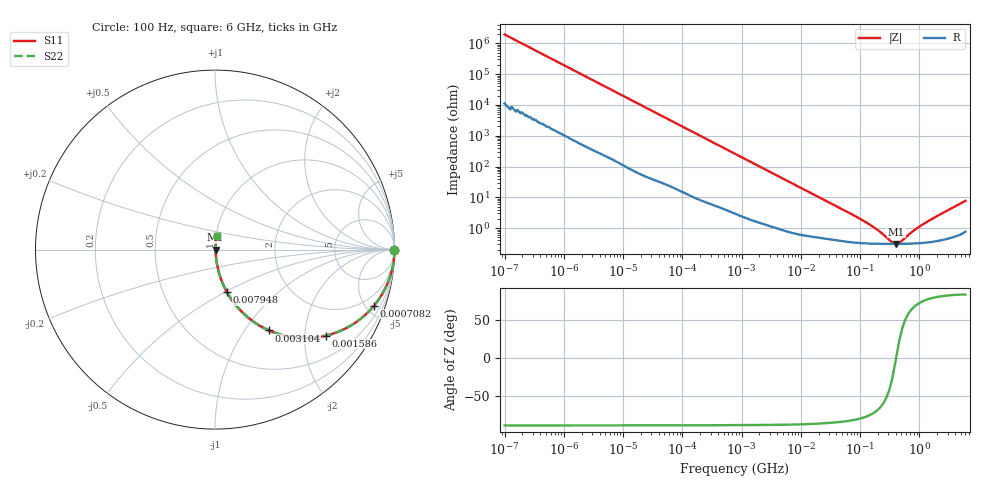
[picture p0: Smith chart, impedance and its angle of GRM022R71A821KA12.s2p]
!Murata Part Number: GRM022R71A821KA12
!These Parameters are Measured in Series Mode Connection
!Data Generated on Mar 30, 2021
!  o--ll--o
!Port1  Port2
!  o------o
!Operation Temp=25[degC], DC Bias Voltage=0[V]
!Freq. Start=100[Hz] Stop=6[GHz] 401[Steps]
# Hz S RI R 50
!Freq.(Hz) S11(Real) S11(Imag) S21(Real) S21(Imag) S12(Real) S12(Imag) S22(Real) S22(Imag)
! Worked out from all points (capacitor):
!   401 points, 100 Hz to 6 GHz, reference 50 ohm
!   read as one part in series: C = 822 pF near 109 Hz
!   lowest |Z| = 308 mohm at 408.7 MHz (marker M1)
!   series resonance near 406.1 MHz, so ESL is about 190 pH
!   S11 on the Smith chart (normalised r, x): 100 Hz: open; 708.2 kHz: 1.06, -5.66; 1.586 MHz: 1.03, -2.54; 3.104 MHz: 1.02, -1.30; 7.948 MHz: 1.01, -0.51; 6 GHz: 1.02, +0.15
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100  1 -5.17e-05  3e-07 5.17e-05  3e-07 5.17e-05  1 -5.17e-05
205  1 -0.000106  6e-07 0.000106  6e-07 0.000106  1 -0.000106
2008  1 -0.00103  6.5e-06 0.00103  6.5e-06 0.00103  1 -0.00103
40335  0.9994 -0.0204  0.00055 0.0204  0.00055 0.0204  0.9994 -0.0204
211427  0.988 -0.1049  0.012 0.1049  0.012 0.1049  0.988 -0.1049
708247  0.8862 -0.312  0.1138 0.312  0.1138 0.312  0.8862 -0.312
774597  0.8673 -0.3336  0.1327 0.3336  0.1327 0.3336  0.8673 -0.3336
1585629  0.6158 -0.4796  0.3842 0.4796  0.3842 0.4796  0.6158 -0.4796
3103719  0.3017 -0.4503  0.6983 0.4503  0.6983 0.4503  0.3017 -0.4503
4856642  0.1541 -0.3509  0.8459 0.3509  0.8459 0.3509  0.1541 -0.3509
7947587  0.0672 -0.2378  0.9328 0.2378  0.9328 0.2378  0.0672 -0.2378
1.555665e7  0.022 -0.1281  0.978 0.1281  0.978 0.1281  0.022 -0.1281
3.64232e7  0.00727 -0.056  0.9927 0.056  0.9927 0.056  0.00727 -0.056
1.220122e8  0.00343 -0.0156  0.9966 0.0156  0.9966 0.0156  0.00343 -0.0156
1.996653e8  0.00315 -0.00797  0.9968 0.00797  0.9968 0.00797  0.00315 -0.00797
3.124326e8  0.00307 -0.00274  0.9969 0.00274  0.9969 0.00274  0.00307 -0.00274
3.573489e8  0.00306 -0.00133  0.9969 0.00133  0.9969 0.00133  0.00306 -0.00133
4.087225e8  0.00307 6.85e-05  0.9969 -6.85e-05  0.9969 -6.85e-05  0.00307 6.85e-05
4.888888e8  0.00308 0.00193  0.9969 -0.00193  0.9969 -0.00193  0.00308 0.00193
8.000355e8  0.00321 0.00756  0.9968 -0.00756  0.9968 -0.00756  0.00321 0.00756
1.251881e9  0.00355 0.0142  0.9965 -0.0142  0.9965 -0.0142  0.00355 0.0142
6e9  0.0133 0.0751  0.9867 -0.0751  0.9867 -0.0751  0.0133 0.0751
